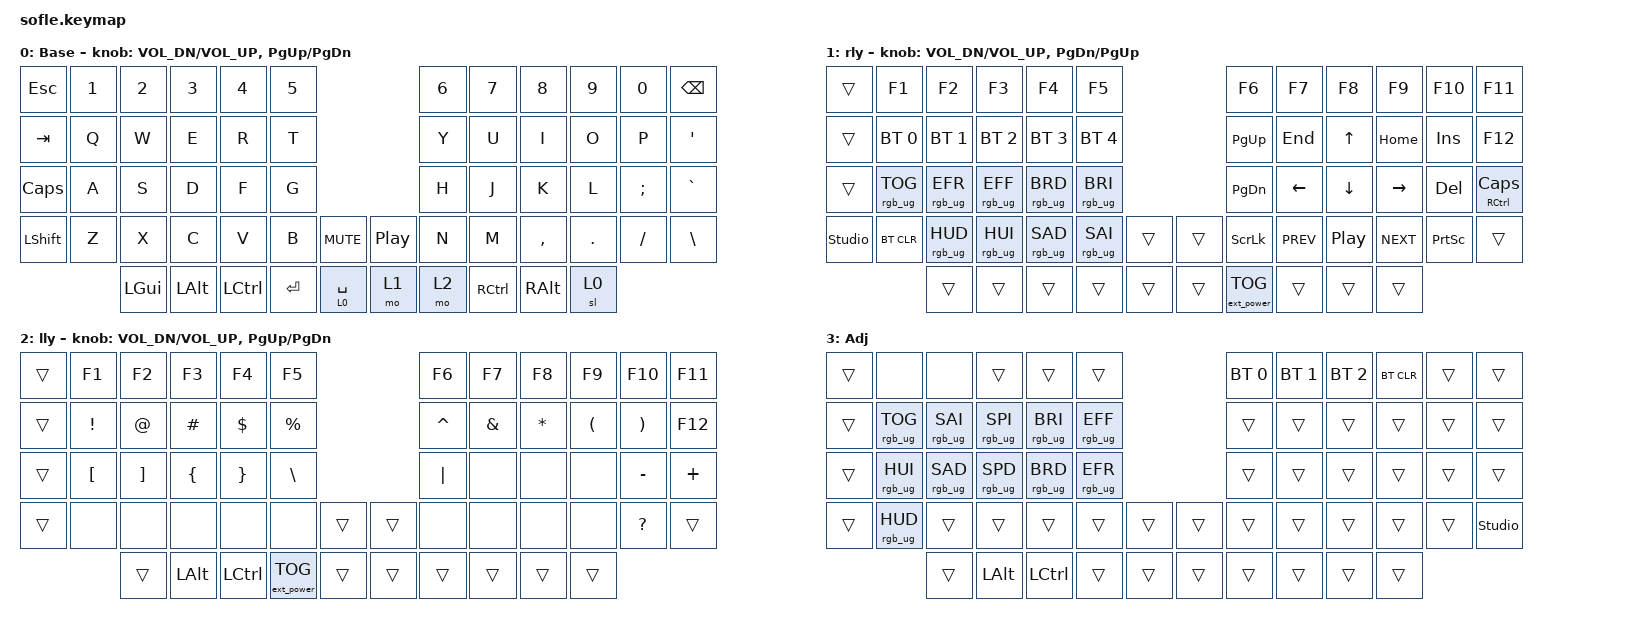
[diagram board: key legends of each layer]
/*
 * Copyright (c) 2020 The ZMK Contributors
 *
 * SPDX-License-Identifier: MIT
 */

#include <behaviors.dtsi>
#include <dt-bindings/zmk/bt.h>
#include <dt-bindings/zmk/ext_power.h>
#include <dt-bindings/zmk/keys.h>
#include <dt-bindings/zmk/rgb.h>

/ {
    keymap {
        compatible = "zmk,keymap";

        default_layer {
            // ------------------------------------------------------------------------------------------------------------
            // |  `    |  1  |  2  |  3   |  4   |  5   |                   |  6   |  7    |  8    |  9   |   0   |   \   |
            // |  TAB  |  Q  |  W  |  E   |  R   |  T   |                   |  Y   |  U    |  I    |  O   |   P   | BKSPC |
            // | C/ESC |  A  |  S  |  D   |  F   |  G   |                   |  H   |  J    |  K    |  L   |   ;   |  C/'  |
            // | SHIFT |  Z  |  X  |  C   |  V   |  B   |  MUTE  |  | PLAY  |  N   |  M    |  ,    |  .   |   /   | SHIFT |
            //               | CAPS| ALT  | GUI/-| SPACE|LOWER/[ |  |RAISE/]| ENTER|  GUI/=|  ALT  | CTRL |

            bindings = <
&kp ESC    &kp N1  &kp N2    &kp N3    &kp N4     &kp N5                              &kp N6  &kp N7     &kp N8     &kp N9   &kp N0    &kp BSPC
&kp TAB    &kp Q   &kp W     &kp E     &kp R      &kp T                               &kp Y   &kp U      &kp I      &kp O    &kp P     &kp APOS
&kp CAPS   &kp A   &kp S     &kp D     &kp F      &kp G                               &kp H   &kp J      &kp K      &kp L    &kp SEMI  &kp GRAVE
&kp LSHFT  &kp Z   &kp X     &kp C     &kp V      &kp B      &kp C_MUTE     &kp C_PP  &kp N   &kp M      &kp COMMA  &kp DOT  &kp FSLH  &kp BSLH
                   &kp LGUI  &kp LALT  &kp LCTRL  &kp ENTER  &lt 0 SPACE    &mo 1     &mo 2   &kp RCTRL  &kp RALT   &sl 0
            >;

            sensor-bindings =
                <&inc_dec_kp C_VOL_DN C_VOL_UP>,
                <&inc_dec_kp PG_UP PG_DN>;

            label = "Base";
        };

        Raise {
            label = "rly";
            bindings = <
&trans          &kp F1           &kp F2           &kp F3           &kp F4           &kp F5                             &kp F6             &kp F7      &kp F8    &kp F9      &kp F10    &kp F11
&trans          &bt BT_SEL 0     &bt BT_SEL 1     &bt BT_SEL 2     &bt BT_SEL 3     &bt BT_SEL 4                       &kp PG_UP          &kp END     &kp UP    &kp HOME    &kp INS    &kp F12
&trans          &rgb_ug RGB_TOG  &rgb_ug RGB_EFR  &rgb_ug RGB_EFF  &rgb_ug RGB_BRD  &rgb_ug RGB_BRI                    &kp PG_DN          &kp LEFT    &kp DOWN  &kp RIGHT   &kp DEL    &mt RCTRL CLCK
&studio_unlock  &bt BT_CLR       &rgb_ug RGB_HUD  &rgb_ug RGB_HUI  &rgb_ug RGB_SAD  &rgb_ug RGB_SAI  &trans    &trans  &kp SLCK           &kp C_PREV  &kp C_PP  &kp C_NEXT  &kp PSCRN  &trans
                                 &trans           &trans           &trans           &trans           &trans    &trans  &ext_power EP_TOG  &trans      &trans    &trans
            >;

            sensor-bindings =
                <&inc_dec_kp C_VOL_DN C_VOL_UP>,
                <&inc_dec_kp PG_DN PG_UP>;
        };

        lower_layer {
            // ------------------------------------------------------------------------------------------------------------
            // |       |  F1 |  F2 |  F3  |  F4  |  F5  |                   |  F6  |  F7   |  F8   |  F9  |  F10  |  F11  |
            // |       |   1 |   2 |   3  |   4  |   5  |                   |   6  |   7   |   8   |   9  |    0  |  F12  |
            // |       |  !  |  @  |  #   |  $   |  %   |                   |  ^   |  &    |  *    |  (   |   )   |       |
            // |       |  -  |  _  |  [   |  {   |  \   |        |  |       |  |   |  }    |  ]    |  =   |   +   |       |
            //               |     |      |      |      |        |  |       |      |       |       |      |

            bindings = <
&trans  &kp F1            &kp F2             &kp F3          &kp F4            &kp F5                               &kp F6     &kp F7         &kp F8        &kp F9                &kp F10                &kp F11
&trans  &kp EXCLAMATION   &kp AT_SIGN        &kp HASH        &kp DOLLAR        &kp PERCENT                          &kp CARET  &kp AMPERSAND  &kp ASTERISK  &kp LEFT_PARENTHESIS  &kp RIGHT_PARENTHESIS  &kp F12
&trans  &kp LEFT_BRACKET  &kp RIGHT_BRACKET  &kp LEFT_BRACE  &kp RIGHT_BRACE   &kp BACKSLASH                        &kp PIPE   &none          &none         &none                 &kp MINUS              &kp PLUS
&trans  &none             &none              &none           &none             &none              &trans    &trans  &none      &none          &none         &none                 &kp QUESTION           &trans
                          &trans             &kp LEFT_ALT    &kp LEFT_CONTROL  &ext_power EP_TOG  &trans    &trans  &trans     &trans         &trans        &trans
            >;

            sensor-bindings =
                <&inc_dec_kp C_VOL_DN C_VOL_UP>,
                <&inc_dec_kp PG_UP PG_DN>;

            label = "lly";
        };

        Adjust {
            bindings = <
&trans  &none            &none            &trans           &trans            &trans                             &bt BT_SEL 0  &bt BT_SEL 1  &bt BT_SEL 2  &bt BT_CLR  &trans  &trans
&trans  &rgb_ug RGB_TOG  &rgb_ug RGB_SAI  &rgb_ug RGB_SPI  &rgb_ug RGB_BRI   &rgb_ug RGB_EFF                    &trans        &trans        &trans        &trans      &trans  &trans
&trans  &rgb_ug RGB_HUI  &rgb_ug RGB_SAD  &rgb_ug RGB_SPD  &rgb_ug RGB_BRD   &rgb_ug RGB_EFR                    &trans        &trans        &trans        &trans      &trans  &trans
&trans  &rgb_ug RGB_HUD  &trans           &trans           &trans            &trans           &trans    &trans  &trans        &trans        &trans        &trans      &trans  &studio_unlock
                         &trans           &kp LEFT_ALT     &kp LEFT_CONTROL  &trans           &trans    &trans  &trans        &trans        &trans        &trans
            >;

            label = "Adj";
        };
    };

    conditional_layers { compatible = "zmk,conditional-layers"; };
};
